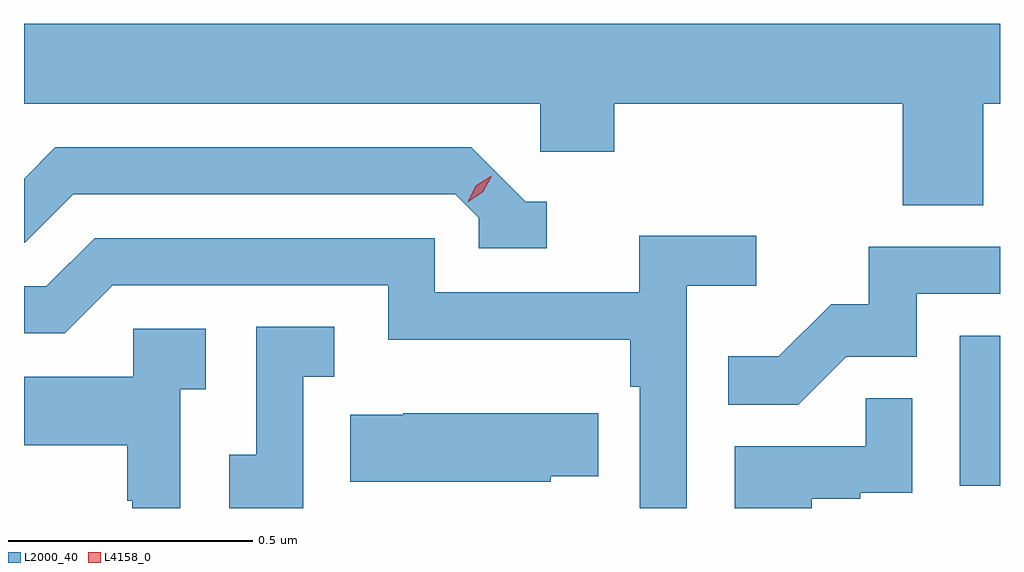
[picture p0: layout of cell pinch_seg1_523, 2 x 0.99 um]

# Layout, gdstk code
import gdstk
lib = gdstk.Library(unit=1e-6, precision=1e-09)
def R(c, l, rs):  # rectangles x0, y0, x1, y1
    for r in rs: c.add(gdstk.rectangle(r[:2], r[2:], *l))
def P(c, l, *ps):  # polygons
    for p in ps: c.add(gdstk.Polygon(p, *l))
L2000_40 = (2000, 40)
L4158_0 = (4158, 0)

pinch_seg1_523 = lib.new_cell('pinch_seg1_523')
R(pinch_seg1_523, L2000_40, [(1025.612,534.966,1025.694,535.273)])
P(pinch_seg1_523, L2000_40, [(1025.66,535.748),(1025.694,535.748),(1025.694,535.912),(1023.694,535.912),(1023.694,535.748),(1024.752,535.748),(1024.752,535.65),(1024.904,535.65),(1024.904,535.748),(1025.495,535.748),(1025.495,535.54),(1025.66,535.54)],
  [(1024.765,535.548),(1024.722,535.548),(1024.611,535.659),(1023.758,535.659),(1023.694,535.595),(1023.694,535.464),(1023.696,535.464),(1023.795,535.563),(1024.578,535.563),(1024.626,535.515),(1024.626,535.452),(1024.765,535.452)],
  [(1025.052,535.376),(1025.194,535.376),(1025.194,535.478),(1024.955,535.478),(1024.955,535.362),(1024.536,535.362),(1024.536,535.473),(1023.839,535.473),(1023.74,535.374),(1023.694,535.374),(1023.694,535.278),(1023.777,535.278),(1023.876,535.377),(1024.44,535.377),(1024.44,535.265),(1024.936,535.265),(1024.936,535.169),(1024.956,535.169),(1024.956,534.92),(1025.052,534.92)],
  [(1025.379,535.23),(1025.523,535.23),(1025.523,535.359),(1025.694,535.359),(1025.694,535.455),(1025.425,535.455),(1025.425,535.338),(1025.348,535.338),(1025.241,535.231),(1025.137,535.231),(1025.137,535.132),(1025.281,535.132)],
  [(1024.266,535.189),(1024.33,535.189),(1024.33,535.292),(1024.17,535.292),(1024.17,535.029),(1024.115,535.029),(1024.115,534.92),(1024.266,534.92)],
  [(1024.014,535.163),(1024.066,535.163),(1024.066,535.287),(1023.918,535.287),(1023.918,535.189),(1023.694,535.189),(1023.694,535.049),(1023.906,535.049),(1023.906,534.935),(1023.916,534.935),(1023.916,534.92),(1024.014,534.92)],
  [(1025.308,534.939),(1025.408,534.939),(1025.408,534.951),(1025.514,534.951),(1025.514,535.145),(1025.419,535.145),(1025.419,535.047),(1025.15,535.047),(1025.15,534.92),(1025.308,534.92)],
  [(1024.773,534.985),(1024.871,534.985),(1024.871,535.114),(1024.471,535.114),(1024.471,535.111),(1024.363,535.111),(1024.363,534.974),(1024.773,534.974)])
P(pinch_seg1_523, L4158_0, [(1024.603,535.548),(1024.603,535.548),(1024.62,535.58),(1024.65,535.6),(1024.651,535.6),(1024.651,535.599),(1024.634,535.567),(1024.604,535.548)])

lib.write_gds('pinch_seg1_523.gds')
